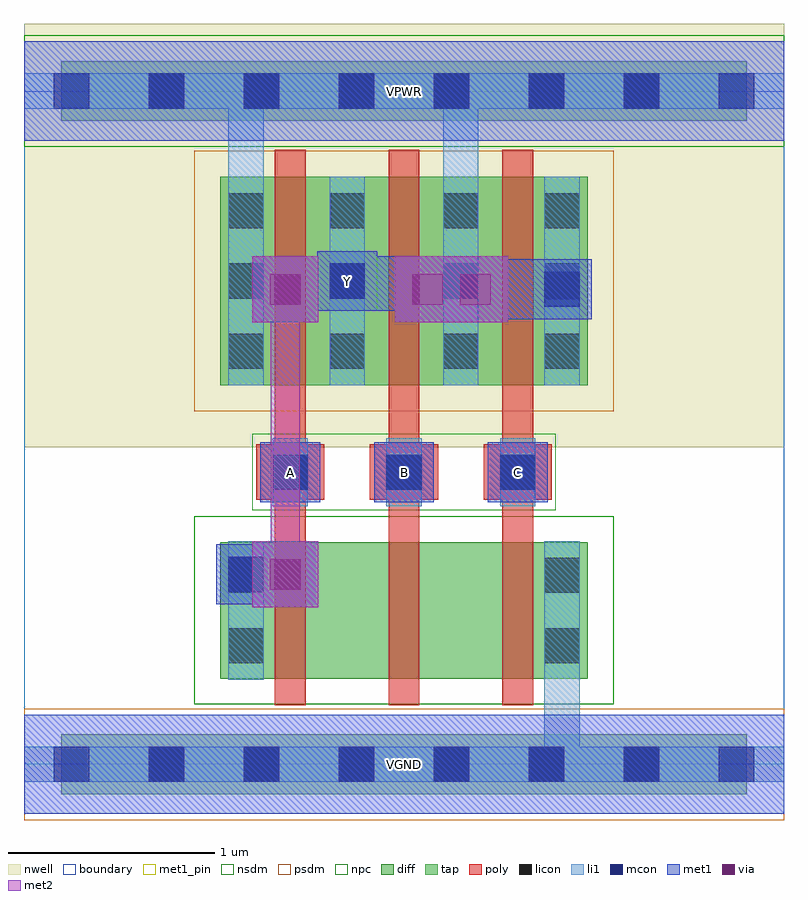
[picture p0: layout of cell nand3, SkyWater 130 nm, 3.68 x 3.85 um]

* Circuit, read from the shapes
.subckt nand3 A B C VGND VPWR Y
XM1 n1 A Y VGND sky130_fd_pr__nfet_01v8 w=0.66 l=0.15
XM2 n2 B n1 VGND sky130_fd_pr__nfet_01v8 w=0.66 l=0.15
XM3 VGND C n2 VGND sky130_fd_pr__nfet_01v8 w=0.66 l=0.15
XM4 Y A VPWR VPWR sky130_fd_pr__pfet_01v8 w=1.01 l=0.15
XM5 VPWR B Y VPWR sky130_fd_pr__pfet_01v8 w=1.01 l=0.15
XM6 Y C VPWR VPWR sky130_fd_pr__pfet_01v8 w=1.01 l=0.15
.ends

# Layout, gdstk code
import gdstk
lib = gdstk.Library(unit=1e-6, precision=1e-09)
def R(c, l, rs):  # rectangles x0, y0, x1, y1
    for r in rs: c.add(gdstk.rectangle(r[:2], r[2:], *l))
def A(c, l, x, y, w, h, nx, ny, dx, dy):  # array of equal rectangles
    R(c, l, [(x+i*dx, y+j*dy, x+i*dx+w, y+j*dy+h) for i in range(nx) for j in range(ny)])
nwell = (64, 20)
diff = (65, 20)
tap = (65, 44)
poly = (66, 20)
licon = (66, 44)
li1 = (67, 20)
mcon = (67, 44)
met1_pin = (68, 16)
met1 = (68, 20)
via = (68, 44)
met2 = (69, 20)
nsdm = (93, 44)
psdm = (94, 20)
npc = (95, 20)
boundary = (235, 4)

nand3 = lib.new_cell('nand3')
R(nand3, nwell, [(0,1.535,3.68,3.585)])
R(nand3, diff, [(0.95,0.415,2.73,1.075), (0.95,1.835,2.73,2.845)])
R(nand3, tap, [(0.18,-0.145,3.5,0.145), (0.18,3.115,3.5,3.405)])
A(nand3, poly, 1.215, 0.285, 0.15, 2.69, 3, 1, 0.55, 0)
A(nand3, poly, 1.125, 1.28, 0.33, 0.27, 3, 1, 0.55, 0)
A(nand3, licon, 0.605, -0.085, 0.17, 0.17, 6, 2, 0.46, 3.26)
A(nand3, licon, 1.205, 1.33, 0.17, 0.17, 3, 1, 0.55, 0)
A(nand3, licon, 0.99, 1.915, 0.17, 0.17, 1, 3, 0, 0.34)
A(nand3, licon, 1.48, 1.915, 0.17, 0.17, 1, 3, 0, 0.34)
A(nand3, licon, 2.03, 1.915, 0.17, 0.17, 1, 3, 0, 0.34)
A(nand3, licon, 2.52, 1.915, 0.17, 0.17, 1, 3, 0, 0.34)
R(nand3, licon, [(0.99,0.49,1.16,0.66), (2.52,0.49,2.69,0.66), (0.99,0.83,1.16,1), (2.52,0.83,2.69,1)])
A(nand3, li1, 1.205, 1.25, 0.17, 0.33, 3, 1, 0.55, 0)
R(nand3, li1, [(0,-0.085,3.68,0.085), (2.52,-0.085,2.69,1.08), (0.99,0.41,1.16,1.08), (2.52,0.41,2.69,1.08), (0.99,1.835,1.16,2.845), (0.99,1.835,1.16,3.345), (1.48,1.835,1.65,2.845), (2.03,1.835,2.2,2.845), (2.03,1.835,2.2,3.345), (2.52,1.835,2.69,2.845), (0,3.175,3.68,3.345)])
A(nand3, mcon, 0.145, -0.085, 0.17, 0.17, 8, 2, 0.46, 3.26)
A(nand3, mcon, 1.205, 1.33, 0.17, 0.17, 3, 1, 0.55, 0)
R(nand3, mcon, [(0.99,0.835,1.16,1.005), (2.52,2.215,2.69,2.385), (1.48,2.255,1.65,2.425)])
A(nand3, met1_pin, 1.145, 1.27, 0.29, 0.29, 3, 1, 0.55, 0)
R(nand3, met1_pin, [(0,-0.24,3.68,0.24), (1.42,2.195,1.71,2.485), (0,3.02,3.68,3.5)])
A(nand3, met1, 1.145, 1.27, 0.29, 0.29, 3, 1, 0.55, 0)
R(nand3, met1, [(0,-0.24,3.68,0.24), (1.105,0.76,1.425,1.08), (0.93,0.775,1.22,1.065), (1.005,0.85,1.335,0.99), (1.105,2.14,1.425,2.46), (1.795,2.14,2.115,2.46), (2.025,2.14,2.345,2.46), (2.345,2.155,2.46,2.445), (2.46,2.155,2.75,2.445), (1.42,2.195,1.71,2.485), (1.71,2.195,1.795,2.46), (1.195,2.23,1.68,2.37), (1.54,2.23,1.68,2.37), (1.54,2.23,2.025,2.37), (2.115,2.23,2.485,2.37), (2.345,2.23,2.675,2.37), (0,3.02,3.68,3.5)])
R(nand3, via, [(1.19,0.845,1.34,0.995), (1.19,2.225,1.34,2.375), (1.88,2.225,2.03,2.375), (2.11,2.225,2.26,2.375)])
R(nand3, met2, [(1.105,0.76,1.425,1.08), (1.195,0.85,1.335,2.37), (1.105,2.14,1.425,2.46), (1.795,2.14,2.115,2.46), (2.025,2.14,2.345,2.46), (1.885,2.23,2.255,2.37)])
R(nand3, nsdm, [(0.825,0.29,2.855,1.2), (0,2.99,3.68,3.53)])
R(nand3, psdm, [(0,-0.27,3.68,0.27), (0.825,1.71,2.855,2.97)])
R(nand3, npc, [(1.105,1.23,2.575,1.6)])
R(nand3, boundary, [(0,0,3.68,3.26)])
nand3.add(gdstk.Label('A', (1.29,1.415), layer=68, texttype=5))
nand3.add(gdstk.Label('B', (1.84,1.415), layer=68, texttype=5))
nand3.add(gdstk.Label('C', (2.39,1.415), layer=68, texttype=5))
nand3.add(gdstk.Label('Y', (1.565,2.34), layer=68, texttype=5))
nand3.add(gdstk.Label('VPWR', (1.84,3.26), layer=68, texttype=5))
nand3.add(gdstk.Label('VGND', (1.84,0), layer=68, texttype=5))
nand3.add(gdstk.Label('A', (1.29,1.415), layer=68, texttype=16))
nand3.add(gdstk.Label('B', (1.84,1.415), layer=68, texttype=16))
nand3.add(gdstk.Label('C', (2.39,1.415), layer=68, texttype=16))
nand3.add(gdstk.Label('Y', (1.565,2.34), layer=68, texttype=16))
nand3.add(gdstk.Label('VPWR', (1.84,3.26), layer=68, texttype=16))
nand3.add(gdstk.Label('VGND', (1.84,0), layer=68, texttype=16))

lib.write_gds('nand3.gds')
